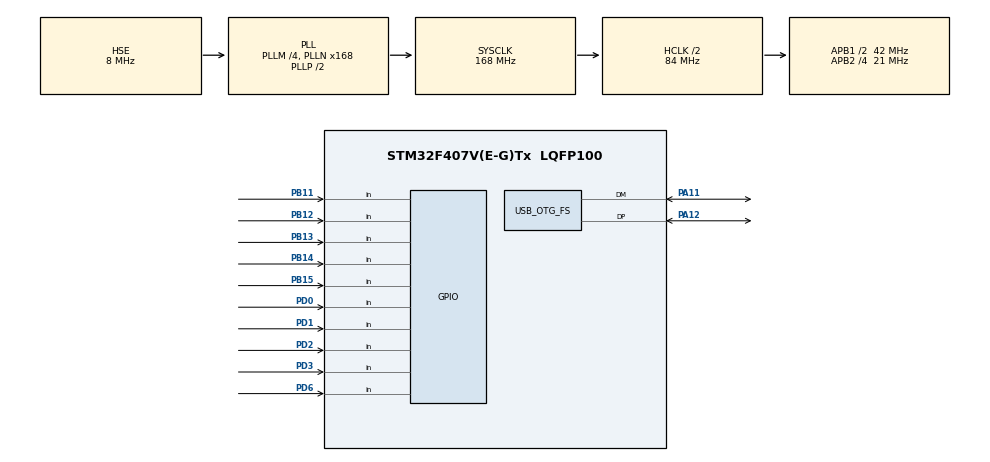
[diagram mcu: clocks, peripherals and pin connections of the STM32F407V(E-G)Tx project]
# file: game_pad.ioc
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Mcu.Family=STM32F4
Mcu.Name=STM32F407V(E-G)Tx
Mcu.Package=LQFP100
NVIC.OTG_FS_IRQn=true\:0\:0\:false\:false\:true\:false\:true
NVIC.PriorityGroup=NVIC_PRIORITYGROUP_4
PA11.Mode=Device_Only
PA11.Signal=USB_OTG_FS_DM
PA12.Mode=Device_Only
PA12.Signal=USB_OTG_FS_DP
PB11.GPIO_PuPd=GPIO_NOPULL
PB11.Signal=GPIO_Input
PB12.GPIO_PuPd=GPIO_NOPULL
PB12.Signal=GPIO_Input
PB13.GPIO_PuPd=GPIO_NOPULL
PB13.Signal=GPIO_Input
PB14.GPIO_PuPd=GPIO_NOPULL
PB14.Signal=GPIO_Input
PB15.GPIO_PuPd=GPIO_NOPULL
PB15.Signal=GPIO_Input
PD0.Signal=GPIO_Input
PD1.Signal=GPIO_Input
PD2.Signal=GPIO_Input
PD3.Signal=GPIO_Input
PD6.Signal=GPIO_Input
PH0-OSC_IN.Mode=HSE-External-Oscillator
PH0-OSC_IN.Signal=RCC_OSC_IN
PH1-OSC_OUT.Mode=HSE-External-Oscillator
PH1-OSC_OUT.Signal=RCC_OSC_OUT
ProjectManager.HeapSize=0x200
ProjectManager.StackSize=0x400
ProjectManager.TargetToolchain=STM32CubeIDE
RCC.48MHZClocksFreq_Value=48000000
RCC.AHBCLKDivider=RCC_SYSCLK_DIV2
RCC.AHBFreq_Value=84000000
RCC.APB1CLKDivider=RCC_HCLK_DIV2
RCC.APB1Freq_Value=42000000
RCC.APB1TimFreq_Value=84000000
RCC.APB2CLKDivider=RCC_HCLK_DIV4
RCC.APB2Freq_Value=21000000
RCC.APB2TimFreq_Value=42000000
RCC.CortexFreq_Value=84000000
RCC.HCLKFreq_Value=84000000
RCC.HSE_VALUE=8000000
RCC.HSI_VALUE=16000000
RCC.LSE_VALUE=32768
RCC.PLLM=4
RCC.PLLN=168
RCC.PLLQ=7
RCC.SYSCLKFreq_VALUE=168000000
RCC.SYSCLKSource=RCC_SYSCLKSOURCE_PLLCLK
RCC.VCOOutputFreq_Value=336000000
USB_DEVICE.CLASS_NAME_FS=CUSTOM_HID
USB_DEVICE.USBD_CUSTOM_HID_REPORT_DESC_SIZE-CUSTOM_HID_FS=46
USB_DEVICE.VirtualMode-CUSTOM_HID_FS=CustomHid
USB_DEVICE.VirtualModeFS=Custom_Hid_FS
USB_OTG_FS.VirtualMode=Device_Only
VP_USB_DEVICE_VS_USB_DEVICE_CUSTOM_HID_FS.Mode=CUSTOM_HID_FS
board=custom

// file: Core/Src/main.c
/* USER CODE BEGIN Header */
/**
  ******************************************************************************
  * @file           : main.c
  * @brief          : Main program body
  ******************************************************************************
  * @attention
  *
  * <h2><center>&copy; Copyright (c) 2020 STMicroelectronics.
  * All rights reserved.</center></h2>
  *
  * This software component is licensed by ST under BSD 3-Clause license,
  * the "License"; You may not use this file except in compliance with the
  * License. You may obtain a copy of the License at:
  *                        opensource.org/licenses/BSD-3-Clause
  *
  ******************************************************************************
  */
/* USER CODE END Header */

#include "main.h"
#include "usb_device.h"

/* USER CODE BEGIN Includes */
#include "usbd_customhid.h"
#include "5IO_Keypad.h"
#include "Types.h"
/* USER CODE END Includes */

/* USER CODE BEGIN PD */
#define SEND_BUFFER_SIZE 7
/* USER CODE END PD */

/* USER CODE BEGIN PV */
extern USBD_HandleTypeDef hUsbDeviceFS;

struct GamepadReport_t {
	uint16_t buttons_16;
	uint8_t buttons_8;
	int8_t left_x;
	int8_t left_y;
	int8_t right_x;
	int8_t right_y;
};
typedef struct GamepadReport_t GamepadReport_t;

uint8_t dataSendBuffer[SEND_BUFFER_SIZE];
// global flag for detecting user input
Bool CHANGED = false;
GamepadReport_t gamepadReport;
/* USER CODE END PV */

void SystemClock_Config(void);
static void MX_GPIO_Init(void);
/* USER CODE BEGIN PFP */

void ResetGamepadReport() {
	gamepadReport.buttons_16 = 0;
	gamepadReport.buttons_8 = 0;
	gamepadReport.left_x = 0;
	gamepadReport.left_y = 0;
	gamepadReport.right_x = 0;
	gamepadReport.right_y = 0;
}

void PrepareSendBuffer(uint8_t *buffer, GamepadReport_t *gamepadReport) {
	buffer[0] = (uint8_t) (gamepadReport->buttons_16 & 0x00FF);
	buffer[1] = (uint8_t) (gamepadReport->buttons_16 >> 8);
	buffer[2] = gamepadReport->buttons_8;
	buffer[3] = gamepadReport->left_x;
	buffer[4] = gamepadReport->left_y;
	buffer[5] = gamepadReport->right_x;
	buffer[6] = gamepadReport->right_y;
}

void GetUserInput() {
	const uint8_t JOYSTICK_VALUE = 64;

	uint32_t leftKeypadValue = KeypadScan(LEFT);
	uint32_t rightKeypadValue = KeypadScan(RIGHT);

	Bool changedLeft = true;
	Bool changedRight = true;

	switch(leftKeypadValue) {
		case 0: changedLeft = false; break;
		case 1: gamepadReport.left_x = -JOYSTICK_VALUE; break; // LEFT
		case 2: gamepadReport.left_y = -JOYSTICK_VALUE; break;  // UP
		case 3: gamepadReport.buttons_8 |= 1U << 0; break; // PRESS
		case 4: gamepadReport.left_y = JOYSTICK_VALUE; break; // DOWN
		case 5: gamepadReport.left_x = JOYSTICK_VALUE; break;  // RIGHT
		case 6: gamepadReport.buttons_16 |= 1U << 7; break;
		case 7: gamepadReport.buttons_16 |= 1U << 6; break;
		case 8: changedLeft = false; break;
		case 9: gamepadReport.buttons_16 |= 1U << 5; break;
		case 10: gamepadReport.buttons_16 |= 1U << 4; break;
		case 11: gamepadReport.buttons_16 |= 1U << 3; break;
		case 12: gamepadReport.buttons_16 |= 1U << 2; break;
		case 13: changedLeft = false; break;
		case 14: gamepadReport.buttons_16 |= 1U << 1; break;
		case 15: gamepadReport.buttons_16 |= 1U << 0; break;
	}

	switch(rightKeypadValue) {
		case 0: changedRight = false; break;
		case 1: gamepadReport.right_x = -JOYSTICK_VALUE; break; // LEFT
		case 2: gamepadReport.right_y = -JOYSTICK_VALUE; break;  // UP
		case 3: gamepadReport.buttons_8 |= 1U << 1; break; // PRESS
		case 4: gamepadReport.right_y = JOYSTICK_VALUE; break; // DOWN
		case 5: gamepadReport.right_x = JOYSTICK_VALUE; break;  // RIGHT
		case 6: gamepadReport.buttons_16 |= 1U << 8; break;  // K1
		case 7: gamepadReport.buttons_16 |= 1U << 9; break; // K2
		case 8: changedRight = false; break; // K3
		case 9: gamepadReport.buttons_16 |= 1U << 10; break; // K4
		case 10: gamepadReport.buttons_16 |= 1U << 11; break; // K5
		case 11: gamepadReport.buttons_16 |= 1U << 12; break; // K6
		case 12: gamepadReport.buttons_16 |= 1U << 13; break; // K7
		case 13: changedRight = false; break; // K8
		case 14: gamepadReport.buttons_16 |= 1U << 14; break; // K9
		case 15: gamepadReport.buttons_16 |= 1U << 15; break; // K10
	}

	// if no button has been pressed (or button without any functionality)
	if (changedLeft == false && changedRight == false) {
		// and last time this function was called there user input was detected
		if (CHANGED == true) {
			// reset buffer values and send empty buffer to the device
			ResetGamepadReport();
			PrepareSendBuffer(dataSendBuffer, &gamepadReport);

			USBD_CUSTOM_HID_SendReport(&hUsbDeviceFS, dataSendBuffer, SEND_BUFFER_SIZE);
			CHANGED = false;
		}
		//else return without sending buffer
		return;
	}

	// if some buttons were pressed set CHANGED flag to true
	CHANGED = true;
}

/* USER CODE END PFP */

int main(void)
{

  /* MCU Configuration--------------------------------------------------------*/

  /* Reset of all peripherals, Initializes the Flash interface and the Systick. */
  HAL_Init();

  /* Configure the system clock */
  SystemClock_Config();

  /* Initialize all configured peripherals */
  MX_GPIO_Init();
  MX_USB_DEVICE_Init();
  /* USER CODE BEGIN 2 */
  ResetGamepadReport();
  /* USER CODE END 2 */

  /* Infinite loop */
  /* USER CODE BEGIN WHILE */
  while (1)
  {
	  GetUserInput();

	  if (CHANGED == true) {
		  PrepareSendBuffer(dataSendBuffer, &gamepadReport);

	  	  USBD_CUSTOM_HID_SendReport(&hUsbDeviceFS, dataSendBuffer, SEND_BUFFER_SIZE);
	  	  ResetGamepadReport();

	  	HAL_Delay(50);
	 }

    /* USER CODE END WHILE */

  }
}

void SystemClock_Config(void)
{
  RCC_OscInitTypeDef RCC_OscInitStruct = {0};
  RCC_ClkInitTypeDef RCC_ClkInitStruct = {0};

  /** Configure the main internal regulator output voltage
  */
  __HAL_RCC_PWR_CLK_ENABLE();
  __HAL_PWR_VOLTAGESCALING_CONFIG(PWR_REGULATOR_VOLTAGE_SCALE1);
  /** Initializes the CPU, AHB and APB busses clocks
  */
  RCC_OscInitStruct.OscillatorType = RCC_OSCILLATORTYPE_HSE;
  RCC_OscInitStruct.HSEState = RCC_HSE_ON;
  RCC_OscInitStruct.PLL.PLLState = RCC_PLL_ON;
  RCC_OscInitStruct.PLL.PLLSource = RCC_PLLSOURCE_HSE;
  RCC_OscInitStruct.PLL.PLLM = 4;
  RCC_OscInitStruct.PLL.PLLN = 168;
  RCC_OscInitStruct.PLL.PLLP = RCC_PLLP_DIV2;
  RCC_OscInitStruct.PLL.PLLQ = 7;
  if (HAL_RCC_OscConfig(&RCC_OscInitStruct) != HAL_OK)
  {
    Error_Handler();
  }
  /** Initializes the CPU, AHB and APB busses clocks
  */
  RCC_ClkInitStruct.ClockType = RCC_CLOCKTYPE_HCLK|RCC_CLOCKTYPE_SYSCLK
                              |RCC_CLOCKTYPE_PCLK1|RCC_CLOCKTYPE_PCLK2;
  RCC_ClkInitStruct.SYSCLKSource = RCC_SYSCLKSOURCE_PLLCLK;
  RCC_ClkInitStruct.AHBCLKDivider = RCC_SYSCLK_DIV2;
  RCC_ClkInitStruct.APB1CLKDivider = RCC_HCLK_DIV2;
  RCC_ClkInitStruct.APB2CLKDivider = RCC_HCLK_DIV4;

  if (HAL_RCC_ClockConfig(&RCC_ClkInitStruct, FLASH_LATENCY_2) != HAL_OK)
  {
    Error_Handler();
  }
}

static void MX_GPIO_Init(void)
{
  GPIO_InitTypeDef GPIO_InitStruct = {0};

  /* GPIO Ports Clock Enable */
  __HAL_RCC_GPIOH_CLK_ENABLE();
  __HAL_RCC_GPIOB_CLK_ENABLE();
  __HAL_RCC_GPIOA_CLK_ENABLE();
  __HAL_RCC_GPIOD_CLK_ENABLE();

  /*Configure GPIO pins : PB11 PB12 PB13 PB14
                           PB15 */
  GPIO_InitStruct.Pin = GPIO_PIN_11|GPIO_PIN_12|GPIO_PIN_13|GPIO_PIN_14
                          |GPIO_PIN_15;
  GPIO_InitStruct.Mode = GPIO_MODE_INPUT;
  GPIO_InitStruct.Pull = GPIO_NOPULL;
  HAL_GPIO_Init(GPIOB, &GPIO_InitStruct);

  /*Configure GPIO pins : PD0 PD1 PD2 PD3
                           PD6 */
  GPIO_InitStruct.Pin = GPIO_PIN_0|GPIO_PIN_1|GPIO_PIN_2|GPIO_PIN_3
                          |GPIO_PIN_6;
  GPIO_InitStruct.Mode = GPIO_MODE_INPUT;
  GPIO_InitStruct.Pull = GPIO_NOPULL;
  HAL_GPIO_Init(GPIOD, &GPIO_InitStruct);

}

void Error_Handler(void)
{
}

/************************ (C) COPYRIGHT STMicroelectronics *****END OF FILE****/
